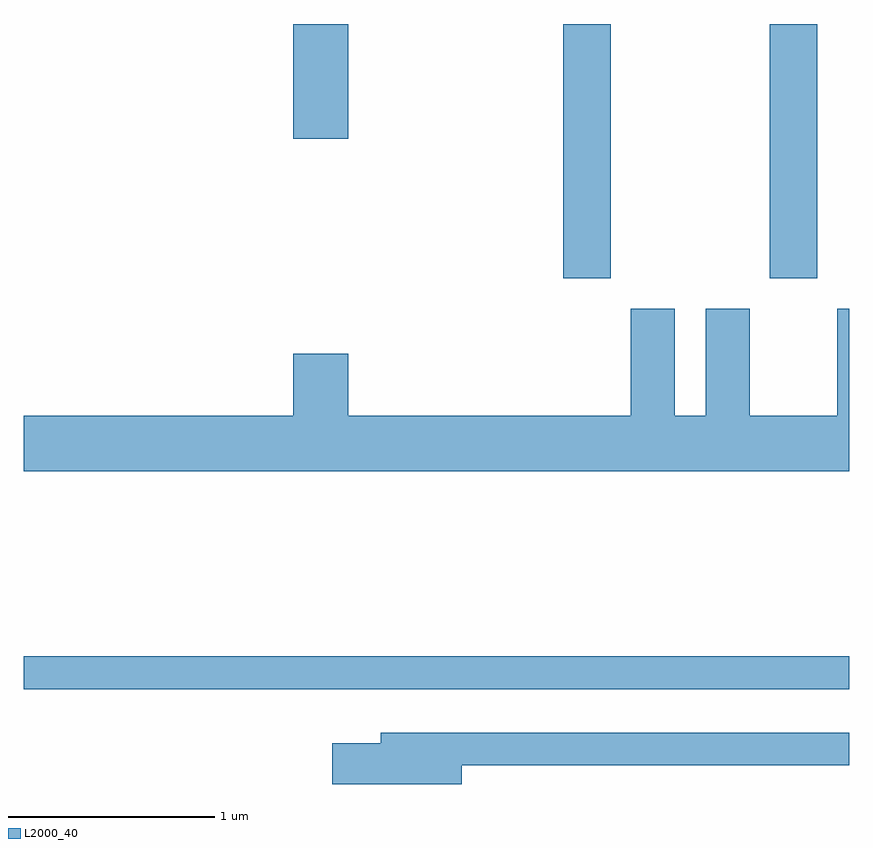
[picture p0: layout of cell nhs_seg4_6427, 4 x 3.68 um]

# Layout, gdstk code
import gdstk
lib = gdstk.Library(unit=1e-6, precision=1e-09)
def R(c, l, rs):  # rectangles x0, y0, x1, y1
    for r in rs: c.add(gdstk.rectangle(r[:2], r[2:], *l))
def P(c, l, *ps):  # polygons
    for p in ps: c.add(gdstk.Polygon(p, *l))
L2000_40 = (2000, 40)

nhs_seg4_6427 = lib.new_cell('nhs_seg4_6427')
R(nhs_seg4_6427, L2000_40, [(373.611,1324.761,377.611,1324.919), (376.226,1326.751,376.454,1327.982), (377.226,1326.751,377.454,1327.982), (374.916,1327.426,375.184,1327.982)])
P(nhs_seg4_6427, L2000_40, [(377.611,1326.604),(377.551,1326.604),(377.551,1326.084),(377.129,1326.084),(377.129,1326.604),(376.916,1326.604),(376.916,1326.084),(376.764,1326.084),(376.764,1326.604),(376.551,1326.604),(376.551,1326.084),(375.184,1326.084),(375.184,1326.384),(374.916,1326.384),(374.916,1326.084),(373.611,1326.084),(373.611,1325.816),(377.611,1325.816)],
  [(375.734,1324.391),(377.611,1324.391),(377.611,1324.549),(375.341,1324.549),(375.341,1324.499),(375.106,1324.499),(375.106,1324.301),(375.734,1324.301)])

lib.write_gds('nhs_seg4_6427.gds')
